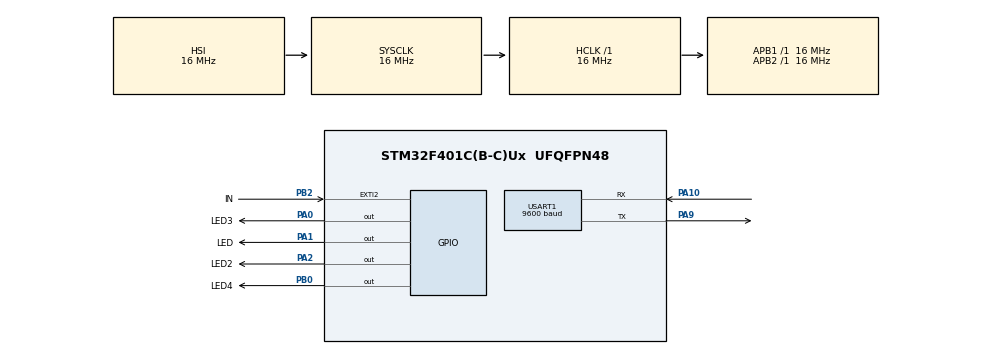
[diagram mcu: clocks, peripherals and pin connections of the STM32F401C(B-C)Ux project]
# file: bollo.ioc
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Dma.Request0=USART1_RX
Dma.USART1_RX.0.Direction=DMA_PERIPH_TO_MEMORY
Dma.USART1_RX.0.FIFOMode=DMA_FIFOMODE_DISABLE
Dma.USART1_RX.0.Instance=DMA2_Stream2
Dma.USART1_RX.0.MemDataAlignment=DMA_MDATAALIGN_BYTE
Dma.USART1_RX.0.MemInc=DMA_MINC_ENABLE
Dma.USART1_RX.0.Mode=DMA_NORMAL
Dma.USART1_RX.0.PeriphDataAlignment=DMA_PDATAALIGN_BYTE
Dma.USART1_RX.0.PeriphInc=DMA_PINC_DISABLE
Dma.USART1_RX.0.Priority=DMA_PRIORITY_LOW
Mcu.Family=STM32F4
Mcu.Name=STM32F401C(B-C)Ux
Mcu.Package=UFQFPN48
NVIC.DMA2_Stream2_IRQn=true\:0\:0\:false\:false\:true\:false\:true\:true
NVIC.EXTI2_IRQn=true\:0\:0\:false\:false\:true\:true\:true\:true
NVIC.PriorityGroup=NVIC_PRIORITYGROUP_2
NVIC.TIM1_UP_TIM10_IRQn=true\:3\:0\:true\:false\:true\:true\:true\:true
NVIC.USART1_IRQn=true\:0\:0\:false\:false\:true\:true\:true\:true
PA0-WKUP.GPIO_Label=LED3
PA0-WKUP.Signal=GPIO_Output
PA1.GPIO_Label=LED
PA1.Signal=GPIO_Output
PA10.Mode=Asynchronous
PA10.Signal=USART1_RX
PA2.GPIO_Label=LED2
PA2.Signal=GPIO_Output
PA9.Mode=Asynchronous
PA9.Signal=USART1_TX
PB0.GPIO_Label=LED4
PB0.Signal=GPIO_Output
PB2.GPIO_Label=IN
PB2.GPIO_ModeDefaultEXTI=GPIO_MODE_IT_FALLING
PB2.GPIO_PuPd=GPIO_PULLUP
PB2.Signal=GPXTI2
ProjectManager.HeapSize=0x200
ProjectManager.StackSize=0x400
ProjectManager.TargetToolchain=CMake
RCC.AHBFreq_Value=16000000
RCC.APB1Freq_Value=16000000
RCC.APB2Freq_Value=16000000
RCC.CortexFreq_Value=16000000
RCC.HSE_VALUE=25000000
RCC.HSI_VALUE=16000000
RCC.LSE_VALUE=32768
RCC.SYSCLKFreq_VALUE=16000000
RCC.VCOOutputFreq_Value=192000000
TIM1.AutoReloadPreload=TIM_AUTORELOAD_PRELOAD_ENABLE
TIM1.Period=100-1
TIM1.Prescaler=16000-1
USART1.BaudRate=9600
USART1.VirtualMode=VM_ASYNC
VP_TIM1_VS_ClockSourceINT.Mode=Internal
board=custom

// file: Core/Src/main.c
/* USER CODE BEGIN Header */
/**
  ******************************************************************************
  * @file           : main.c
  * @brief          : Main program body
  ******************************************************************************
  * @attention
  *
  * Copyright (c) 2026 STMicroelectronics.
  * All rights reserved.
  *
  * This software is licensed under terms that can be found in the LICENSE file
  * in the root directory of this software component.
  * If no LICENSE file comes with this software, it is provided AS-IS.
  *
  ******************************************************************************
  */
/* USER CODE END Header */
#include "main.h"

/* USER CODE BEGIN Includes */
#include "stdint.h"
#include "stdio.h"
#include "string.h"
#include "stdlib.h"
#include "UARTRX.h"
#include "uart.h"
/* USER CODE END Includes */

TIM_HandleTypeDef htim1;

UART_HandleTypeDef huart1;
DMA_HandleTypeDef hdma_usart1_rx;

void SystemClock_Config(void);
static void MX_GPIO_Init(void);
static void MX_DMA_Init(void);
static void MX_TIM1_Init(void);
static void MX_USART1_UART_Init(void);
/* USER CODE BEGIN PFP */
void procesa_rx(uint8_t *datos, uint16_t n);
void menu_leds(void);
/* USER CODE END PFP */

int main(void)
{

  /* MCU Configuration--------------------------------------------------------*/

  /* Reset of all peripherals, Initializes the Flash interface and the Systick. */
  HAL_Init();

  /* Configure the system clock */
  SystemClock_Config();

  /* Initialize all configured peripherals */
  MX_GPIO_Init();
  MX_DMA_Init();
  MX_TIM1_Init();
  MX_USART1_UART_Init();
  /* USER CODE BEGIN 2 */
  HAL_TIM_Base_Start_IT(&htim1);
  uartRX_it_idle_dma_init( &UARTRX1);
  menu_leds();

  /* USER CODE END 2 */

  /* Infinite loop */
  /* USER CODE BEGIN WHILE */
  while (1)
  {
    if (UARTRX1.flag_rx==1)
	  {
	      procesa_rx(UARTRX1.trama_rx, UARTRX1.num_datos); //procesa los comandos de LEDs
		  uartRX_DMA_Re_init(&UARTRX1);
	  }
    /* USER CODE END WHILE */

  }
}

void SystemClock_Config(void)
{
  RCC_OscInitTypeDef RCC_OscInitStruct = {0};
  RCC_ClkInitTypeDef RCC_ClkInitStruct = {0};

  /** Configure the main internal regulator output voltage
  */
  __HAL_RCC_PWR_CLK_ENABLE();
  __HAL_PWR_VOLTAGESCALING_CONFIG(PWR_REGULATOR_VOLTAGE_SCALE2);

  /** Initializes the RCC Oscillators according to the specified parameters
  * in the RCC_OscInitTypeDef structure.
  */
  RCC_OscInitStruct.OscillatorType = RCC_OSCILLATORTYPE_HSI;
  RCC_OscInitStruct.HSIState = RCC_HSI_ON;
  RCC_OscInitStruct.HSICalibrationValue = RCC_HSICALIBRATION_DEFAULT;
  RCC_OscInitStruct.PLL.PLLState = RCC_PLL_NONE;
  if (HAL_RCC_OscConfig(&RCC_OscInitStruct) != HAL_OK)
  {
    Error_Handler();
  }

  /** Initializes the CPU, AHB and APB buses clocks
  */
  RCC_ClkInitStruct.ClockType = RCC_CLOCKTYPE_HCLK|RCC_CLOCKTYPE_SYSCLK
                              |RCC_CLOCKTYPE_PCLK1|RCC_CLOCKTYPE_PCLK2;
  RCC_ClkInitStruct.SYSCLKSource = RCC_SYSCLKSOURCE_HSI;
  RCC_ClkInitStruct.AHBCLKDivider = RCC_SYSCLK_DIV1;
  RCC_ClkInitStruct.APB1CLKDivider = RCC_HCLK_DIV1;
  RCC_ClkInitStruct.APB2CLKDivider = RCC_HCLK_DIV1;

  if (HAL_RCC_ClockConfig(&RCC_ClkInitStruct, FLASH_LATENCY_0) != HAL_OK)
  {
    Error_Handler();
  }
}

static void MX_TIM1_Init(void)
{

  TIM_ClockConfigTypeDef sClockSourceConfig = {0};
  TIM_MasterConfigTypeDef sMasterConfig = {0};

  htim1.Instance = TIM1;
  htim1.Init.Prescaler = 16000-1;
  htim1.Init.CounterMode = TIM_COUNTERMODE_UP;
  htim1.Init.Period = 100-1;
  htim1.Init.ClockDivision = TIM_CLOCKDIVISION_DIV1;
  htim1.Init.RepetitionCounter = 0;
  htim1.Init.AutoReloadPreload = TIM_AUTORELOAD_PRELOAD_ENABLE;
  if (HAL_TIM_Base_Init(&htim1) != HAL_OK)
  {
    Error_Handler();
  }
  sClockSourceConfig.ClockSource = TIM_CLOCKSOURCE_INTERNAL;
  if (HAL_TIM_ConfigClockSource(&htim1, &sClockSourceConfig) != HAL_OK)
  {
    Error_Handler();
  }
  sMasterConfig.MasterOutputTrigger = TIM_TRGO_RESET;
  sMasterConfig.MasterSlaveMode = TIM_MASTERSLAVEMODE_DISABLE;
  if (HAL_TIMEx_MasterConfigSynchronization(&htim1, &sMasterConfig) != HAL_OK)
  {
    Error_Handler();
  }

}

static void MX_USART1_UART_Init(void)
{

  huart1.Instance = USART1;
  huart1.Init.BaudRate = 9600;
  huart1.Init.WordLength = UART_WORDLENGTH_8B;
  huart1.Init.StopBits = UART_STOPBITS_1;
  huart1.Init.Parity = UART_PARITY_NONE;
  huart1.Init.Mode = UART_MODE_TX_RX;
  huart1.Init.HwFlowCtl = UART_HWCONTROL_NONE;
  huart1.Init.OverSampling = UART_OVERSAMPLING_16;
  if (HAL_UART_Init(&huart1) != HAL_OK)
  {
    Error_Handler();
  }

}

static void MX_DMA_Init(void)
{

  /* DMA controller clock enable */
  __HAL_RCC_DMA2_CLK_ENABLE();

  /* DMA interrupt init */
  /* DMA2_Stream2_IRQn interrupt configuration */
  HAL_NVIC_SetPriority(DMA2_Stream2_IRQn, 0, 0);
  HAL_NVIC_EnableIRQ(DMA2_Stream2_IRQn);

}

static void MX_GPIO_Init(void)
{
  GPIO_InitTypeDef GPIO_InitStruct = {0};

  /* GPIO Ports Clock Enable */
  __HAL_RCC_GPIOA_CLK_ENABLE();
  __HAL_RCC_GPIOB_CLK_ENABLE();

  /*Configure GPIO pin Output Level */
  HAL_GPIO_WritePin(GPIOA, LED3_Pin|LED_Pin|LED2_Pin, GPIO_PIN_RESET);

  /*Configure GPIO pin Output Level */
  HAL_GPIO_WritePin(LED4_GPIO_Port, LED4_Pin, GPIO_PIN_RESET);

  /*Configure GPIO pins : LED3_Pin LED_Pin LED2_Pin */
  GPIO_InitStruct.Pin = LED3_Pin|LED_Pin|LED2_Pin;
  GPIO_InitStruct.Mode = GPIO_MODE_OUTPUT_PP;
  GPIO_InitStruct.Pull = GPIO_NOPULL;
  GPIO_InitStruct.Speed = GPIO_SPEED_FREQ_LOW;
  HAL_GPIO_Init(GPIOA, &GPIO_InitStruct);

  /*Configure GPIO pin : LED4_Pin */
  GPIO_InitStruct.Pin = LED4_Pin;
  GPIO_InitStruct.Mode = GPIO_MODE_OUTPUT_PP;
  GPIO_InitStruct.Pull = GPIO_NOPULL;
  GPIO_InitStruct.Speed = GPIO_SPEED_FREQ_LOW;
  HAL_GPIO_Init(LED4_GPIO_Port, &GPIO_InitStruct);

  /*Configure GPIO pin : IN_Pin */
  GPIO_InitStruct.Pin = IN_Pin;
  GPIO_InitStruct.Mode = GPIO_MODE_IT_FALLING;
  GPIO_InitStruct.Pull = GPIO_PULLUP;
  HAL_GPIO_Init(IN_GPIO_Port, &GPIO_InitStruct);

  /* EXTI interrupt init*/
  HAL_NVIC_SetPriority(EXTI2_IRQn, 0, 0);
  HAL_NVIC_EnableIRQ(EXTI2_IRQn);

}

/* USER CODE BEGIN 4 */
/* ================= CONTROL DE 4 LEDs POR UART (VIRTUAL TERMINAL) =================
 * Comandos rapidos (una sola tecla, sin Enter):
 *    A = LED1 ON   a = LED1 OFF
 *    B = LED2 ON   b = LED2 OFF
 *    C = LED3 ON   c = LED3 OFF
 *    D = LED4 ON   d = LED4 OFF
 *    T = todos ON  t = todos OFF      ? = estado
 * Comandos de texto (terminar con Enter):
 *    L1=1  L1=0  ...  L4=1  L4=0   ALL=1  ALL=0   ?
 * LED1 = PA1 (LED), LED2 = PA2 (LED2), LED3 = PA0 (LED3), LED4 = PB0 (LED4)
 * ================================================================================ */
static GPIO_TypeDef * const led_port[4] = {LED_GPIO_Port, LED2_GPIO_Port, LED3_GPIO_Port, LED4_GPIO_Port};
static const uint16_t       led_pin[4]  = {LED_Pin,       LED2_Pin,       LED3_Pin,       LED4_Pin};

#define CMD_MAX 16
static char    cmd_buf[CMD_MAX];
static uint8_t cmd_len = 0;

static void led_set(uint8_t n, uint8_t on)   // n = 0..3
{
  HAL_GPIO_WritePin(led_port[n], led_pin[n], on ? GPIO_PIN_SET : GPIO_PIN_RESET);
  char msg[24];
  sprintf(msg, "\r\nLED%d %s\r\n", n + 1, on ? "ON" : "OFF");
  uartx_write_text(&huart1, msg);
}

static void led_all(uint8_t on)
{
  for (uint8_t i = 0; i < 4; i++) led_set(i, on);
}

static void led_estado(void)
{
  char msg[64];
  sprintf(msg, "\r\nLED1:%d LED2:%d LED3:%d LED4:%d\r\n",
          HAL_GPIO_ReadPin(led_port[0], led_pin[0]),
          HAL_GPIO_ReadPin(led_port[1], led_pin[1]),
          HAL_GPIO_ReadPin(led_port[2], led_pin[2]),
          HAL_GPIO_ReadPin(led_port[3], led_pin[3]));
  uartx_write_text(&huart1, msg);
}

void menu_leds(void)
{
  uartx_write_text(&huart1,
    "\r\n=== CONTROL DE LEDs ===\r\n"
    "A/a LED1 ON/OFF  B/b LED2 ON/OFF\r\n"
    "C/c LED3 ON/OFF  D/d LED4 ON/OFF\r\n"
    "T/t TODOS ON/OFF   ? estado\r\n"
    "o escriba L1=1 .. L4=0, ALL=1, ALL=0 + Enter\r\n> ");
}

// Atiende una tecla rapida. Devuelve 1 si la reconocio.
static uint8_t tecla_rapida(char c)
{
  switch (c)
  {
    case 'A': led_set(0, 1); return 1;   case 'a': led_set(0, 0); return 1;
    case 'B': led_set(1, 1); return 1;   case 'b': led_set(1, 0); return 1;
    case 'C': led_set(2, 1); return 1;   case 'c': led_set(2, 0); return 1;
    case 'D': led_set(3, 1); return 1;   case 'd': led_set(3, 0); return 1;
    case 'T': led_all(1);    return 1;   case 't': led_all(0);    return 1;
    case '?': led_estado();  return 1;
    default: return 0;
  }
}

// Procesa una linea completa (L1=1, ALL=0, ...)
static void procesa_linea(char *linea)
{
  for (char *p = linea; *p; p++) if (*p >= 'a' && *p <= 'z') *p -= 32;  // a mayusculas

  if (linea[0] == 'L' && linea[1] >= '1' && linea[1] <= '4' && linea[2] == '=' &&
      (linea[3] == '0' || linea[3] == '1') && linea[4] == 0)
  {
    led_set(linea[1] - '1', linea[3] == '1');
  }
  else if (strcmp(linea, "ALL=1") == 0) led_all(1);
  else if (strcmp(linea, "ALL=0") == 0) led_all(0);
  else if (strcmp(linea, "?") == 0)     led_estado();
  else if (linea[0] != 0)
  {
    uartx_write_text(&huart1, "\r\nComando no valido\r\n");
    menu_leds();
    return;
  }
  uartx_write_text(&huart1, "> ");
}

// Se llama con lo que llego por la UART (puede ser 1 tecla o varias)
void procesa_rx(uint8_t *datos, uint16_t n)
{
  for (uint16_t i = 0; i < n; i++)
  {
    char c = (char)datos[i];

    if (c == '\r' || c == '\n')                 // Enter: ejecuta la linea escrita
    {
      if (cmd_len > 0)
      {
        cmd_buf[cmd_len] = 0;
        procesa_linea(cmd_buf);
        cmd_len = 0;
      }
      continue;
    }

    if (cmd_len == 0 && tecla_rapida(c))        // tecla rapida (solo si no se esta escribiendo una linea)
    {
      uartx_write_text(&huart1, "> ");
      continue;
    }

    if (c == 8 || c == 127)                     // retroceso
    {
      if (cmd_len > 0) { cmd_len--; uartx_write_text(&huart1, "\b \b"); }
      continue;
    }

    if (cmd_len < CMD_MAX - 1)                  // guarda y hace eco
    {
      cmd_buf[cmd_len++] = c;
      uartx_write(&huart1, (uint8_t)c);
    }
  }
}
/* USER CODE END 4 */

void Error_Handler(void)
{
  __disable_irq();
  while (1)
  {
  }
}
